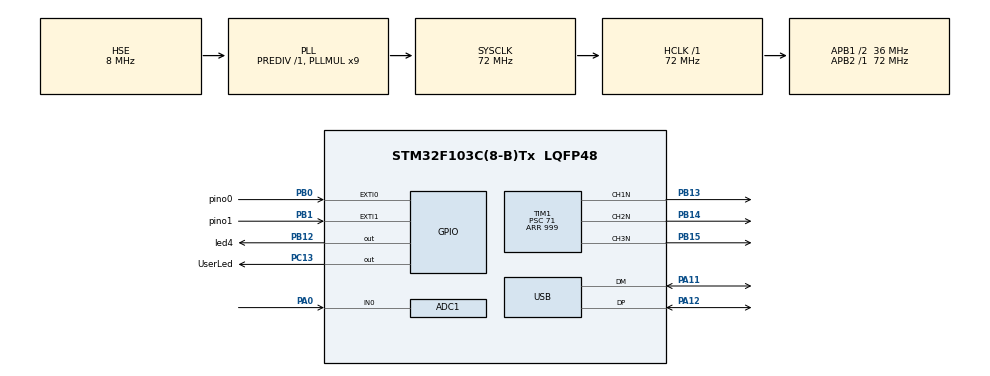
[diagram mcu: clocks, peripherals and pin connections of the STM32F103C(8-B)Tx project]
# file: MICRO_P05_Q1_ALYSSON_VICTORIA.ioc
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ADC1.Channel-0\#ChannelRegularConversion=ADC_CHANNEL_0
ADC1.ExternalTrigConv=ADC_EXTERNALTRIGCONV_T3_TRGO
ADC1.NbrOfConversionFlag=1
ADC1.Rank-0\#ChannelRegularConversion=1
ADC1.SamplingTime-0\#ChannelRegularConversion=ADC_SAMPLETIME_1CYCLE_5
ADC1.master=1
Dma.ADC1.0.Direction=DMA_PERIPH_TO_MEMORY
Dma.ADC1.0.Instance=DMA1_Channel1
Dma.ADC1.0.MemDataAlignment=DMA_MDATAALIGN_HALFWORD
Dma.ADC1.0.MemInc=DMA_MINC_ENABLE
Dma.ADC1.0.Mode=DMA_CIRCULAR
Dma.ADC1.0.PeriphDataAlignment=DMA_PDATAALIGN_HALFWORD
Dma.ADC1.0.PeriphInc=DMA_PINC_DISABLE
Dma.ADC1.0.Priority=DMA_PRIORITY_LOW
Dma.Request0=ADC1
Mcu.Family=STM32F1
Mcu.Name=STM32F103C(8-B)Tx
Mcu.Package=LQFP48
NVIC.ADC1_2_IRQn=true\:0\:0\:false\:false\:true\:true\:true\:true
NVIC.DMA1_Channel1_IRQn=true\:0\:0\:false\:false\:true\:false\:true\:true
NVIC.EXTI0_IRQn=true\:0\:0\:true\:false\:true\:true\:true\:true
NVIC.EXTI1_IRQn=true\:0\:0\:true\:false\:true\:true\:true\:true
NVIC.PriorityGroup=NVIC_PRIORITYGROUP_4
NVIC.USB_LP_CAN1_RX0_IRQn=true\:0\:0\:false\:false\:true\:false\:true\:true
PA0-WKUP.Signal=ADCx_IN0
PA11.Mode=Device
PA11.Signal=USB_DM
PA12.Mode=Device
PA12.Signal=USB_DP
PA13.Mode=Serial_Wire
PA13.Signal=SYS_JTMS-SWDIO
PA14.Mode=Serial_Wire
PA14.Signal=SYS_JTCK-SWCLK
PB0.GPIO_Label=pino0
PB0.GPIO_ModeDefaultEXTI=GPIO_MODE_IT_FALLING
PB0.GPIO_PuPd=GPIO_PULLUP
PB0.Signal=GPXTI0
PB1.GPIO_Label=pino1
PB1.GPIO_ModeDefaultEXTI=GPIO_MODE_IT_FALLING
PB1.GPIO_PuPd=GPIO_PULLUP
PB1.Signal=GPXTI1
PB12.GPIO_Label=led4
PB12.GPIO_Speed=GPIO_SPEED_FREQ_LOW
PB12.PinState=GPIO_PIN_SET
PB12.Signal=GPIO_Output
PB13.Mode=PWM Generation1 CH1N
PB13.Signal=TIM1_CH1N
PB14.Mode=PWM Generation2 CH2N
PB14.Signal=TIM1_CH2N
PB15.Mode=PWM Generation3 CH3N
PB15.Signal=TIM1_CH3N
PC13-TAMPER-RTC.GPIO_Label=UserLed
PC13-TAMPER-RTC.PinState=GPIO_PIN_SET
PC13-TAMPER-RTC.Signal=GPIO_Output
PD0-OSC_IN.Mode=HSE-External-Oscillator
PD0-OSC_IN.Signal=RCC_OSC_IN
PD1-OSC_OUT.Mode=HSE-External-Oscillator
PD1-OSC_OUT.Signal=RCC_OSC_OUT
ProjectManager.HeapSize=0x200
ProjectManager.StackSize=0x400
ProjectManager.TargetToolchain=STM32CubeIDE
RCC.ADCPresc=RCC_ADCPCLK2_DIV6
RCC.AHBFreq_Value=72000000
RCC.APB1CLKDivider=RCC_HCLK_DIV2
RCC.APB1Freq_Value=36000000
RCC.APB1TimFreq_Value=72000000
RCC.APB2Freq_Value=72000000
RCC.APB2TimFreq_Value=72000000
RCC.HCLKFreq_Value=72000000
RCC.PLLMUL=RCC_PLL_MUL9
RCC.PLLSourceVirtual=RCC_PLLSOURCE_HSE
RCC.SYSCLKFreq_VALUE=72000000
RCC.SYSCLKSource=RCC_SYSCLKSOURCE_PLLCLK
RCC.USBFreq_Value=48000000
RCC.USBPrescaler=RCC_USBCLKSOURCE_PLL_DIV1_5
SH.ADCx_IN0.0=ADC1_IN0,IN0
TIM1.Channel-PWM\ Generation1\ CH1N=TIM_CHANNEL_1
TIM1.Channel-PWM\ Generation2\ CH2N=TIM_CHANNEL_2
TIM1.Channel-PWM\ Generation3\ CH3N=TIM_CHANNEL_3
TIM1.Period=999
TIM1.Prescaler=71
TIM3.Period=1999
TIM3.Prescaler=7199
TIM3.TIM_MasterOutputTrigger=TIM_TRGO_UPDATE
USB_DEVICE.CLASS_NAME_FS=CDC
USB_DEVICE.VirtualMode=Cdc
USB_DEVICE.VirtualModeFS=Cdc_FS
VP_TIM3_VS_ClockSourceINT.Mode=Internal
VP_USB_DEVICE_VS_USB_DEVICE_CDC_FS.Mode=CDC_FS
board=custom

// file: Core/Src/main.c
/* USER CODE BEGIN Header */
/**
  ******************************************************************************
  * @file           : main.c
  * @brief          : Prática 5 - Configuração e utilização da comunicação USB
  * @author         : Alysson Lucas Pontes Cavalcante da Silva e Maria Victória Martins Neves
  * @date           : 20/05/2026
  * @details        : Aprendendo a realizar a configuração e a utilização da comunicação USB
  * entre o computador e placa BluePill.
  ******************************************************************************
  */
/* USER CODE END Header */
#include "main.h"
#include "usb_device.h"

/* USER CODE BEGIN Includes */
#include "usb_flags.h"
#include "usbd_cdc_if.h"
#include <string.h>
#include <stdio.h> //formatação de string (snprintf)

/* USER CODE END Includes */

/* USER CODE BEGIN PD */

#define ADC_MAX_VAL 4040 // Resolução de 12 bits do ADC do STM32 (ajustada)
#define ADC_BUF_LEN 1    // Tamanho do buffer do DMA

/* USER CODE END PD */

ADC_HandleTypeDef hadc1;
DMA_HandleTypeDef hdma_adc1;

TIM_HandleTypeDef htim1;
TIM_HandleTypeDef htim3;

/* USER CODE BEGIN PV */
/* NENHUMA VARIÁVEL GLOBAL! O código está 100% blindado. */
/* USER CODE END PV */

void SystemClock_Config(void);
static void MX_GPIO_Init(void);
static void MX_DMA_Init(void);
static void MX_ADC1_Init(void);
static void MX_TIM3_Init(void);
static void MX_TIM1_Init(void);
/* USER CODE BEGIN PFP */
void UserLed(uint32_t tempo_atual, uint32_t *time_UserLed);
uint32_t Duty_Conversion(uint32_t valor_adc);

// Função de Processamento dos dados recebidos do USB
void Process_USB_Commands(uint32_t *adc_val, uint8_t *Buf, uint32_t Len);

/* USER CODE END PFP */

int main(void)
{

  /* USER CODE BEGIN 1 */
	uint32_t tempo_atual = HAL_GetTick(); // Atualiza o tempo atual em milissegundos
	uint32_t time_UserLed = tempo_atual;  // Controlar o tempo do Userled.

	// A variável do ADC é estritamente local à main!
	uint32_t adc_buffer[ADC_BUF_LEN];
  /* USER CODE END 1 */

  /* MCU Configuration--------------------------------------------------------*/

  /* Reset of all peripherals, Initializes the Flash interface and the Systick. */
  HAL_Init();

  /* Configure the system clock */
  SystemClock_Config();

  /* Initialize all configured peripherals */
  MX_GPIO_Init();
  MX_DMA_Init();
  MX_ADC1_Init();
  MX_TIM3_Init();
  MX_TIM1_Init();
  MX_USB_DEVICE_Init();
  /* USER CODE BEGIN 2 */
  HAL_TIM_Base_Start(&htim3); // Inicializa o TIM3 que está definido para 200ms

  //Estamos utilizando o canal N, Inicialização do PWM temporizador 1 e canais 3,2 e 1.
  HAL_TIMEx_PWMN_Start(&htim1,TIM_CHANNEL_3);
  HAL_TIMEx_PWMN_Start(&htim1,TIM_CHANNEL_2);
  HAL_TIMEx_PWMN_Start(&htim1,TIM_CHANNEL_1);
  HAL_ADC_Start_DMA(&hadc1, (uint32_t*)adc_buffer, ADC_BUF_LEN); // Inicializao ADC1
  /* USER CODE END 2 */

  /* Infinite loop */
  /* USER CODE BEGIN WHILE */
  while (1)
  {
	 tempo_atual = HAL_GetTick();

	 // Função Userled: pisca o userled 1950 apagado e 50ms aceso
	 UserLed(tempo_atual, &time_UserLed);

	 // Atualiza D1 via ADC
	 __HAL_TIM_SET_COMPARE(&htim1, TIM_CHANNEL_1, Duty_Conversion(adc_buffer[0]));

	 // Chama a máquina de estados Mestre. Ela mesma verifica a flag e o timeout internamente!
	 Process_USB_Commands(&adc_buffer[0], NULL, 0);

    /* USER CODE END WHILE */

  }
}

void SystemClock_Config(void)
{
  RCC_OscInitTypeDef RCC_OscInitStruct = {0};
  RCC_ClkInitTypeDef RCC_ClkInitStruct = {0};
  RCC_PeriphCLKInitTypeDef PeriphClkInit = {0};

  /** Initializes the RCC Oscillators according to the specified parameters
  * in the RCC_OscInitTypeDef structure.
  */
  RCC_OscInitStruct.OscillatorType = RCC_OSCILLATORTYPE_HSE;
  RCC_OscInitStruct.HSEState = RCC_HSE_ON;
  RCC_OscInitStruct.HSEPredivValue = RCC_HSE_PREDIV_DIV1;
  RCC_OscInitStruct.HSIState = RCC_HSI_ON;
  RCC_OscInitStruct.PLL.PLLState = RCC_PLL_ON;
  RCC_OscInitStruct.PLL.PLLSource = RCC_PLLSOURCE_HSE;
  RCC_OscInitStruct.PLL.PLLMUL = RCC_PLL_MUL9;
  if (HAL_RCC_OscConfig(&RCC_OscInitStruct) != HAL_OK)
  {
    Error_Handler();
  }

  /** Initializes the CPU, AHB and APB buses clocks
  */
  RCC_ClkInitStruct.ClockType = RCC_CLOCKTYPE_HCLK|RCC_CLOCKTYPE_SYSCLK
                              |RCC_CLOCKTYPE_PCLK1|RCC_CLOCKTYPE_PCLK2;
  RCC_ClkInitStruct.SYSCLKSource = RCC_SYSCLKSOURCE_PLLCLK;
  RCC_ClkInitStruct.AHBCLKDivider = RCC_SYSCLK_DIV1;
  RCC_ClkInitStruct.APB1CLKDivider = RCC_HCLK_DIV2;
  RCC_ClkInitStruct.APB2CLKDivider = RCC_HCLK_DIV1;

  if (HAL_RCC_ClockConfig(&RCC_ClkInitStruct, FLASH_LATENCY_2) != HAL_OK)
  {
    Error_Handler();
  }
  PeriphClkInit.PeriphClockSelection = RCC_PERIPHCLK_ADC|RCC_PERIPHCLK_USB;
  PeriphClkInit.AdcClockSelection = RCC_ADCPCLK2_DIV6;
  PeriphClkInit.UsbClockSelection = RCC_USBCLKSOURCE_PLL_DIV1_5;
  if (HAL_RCCEx_PeriphCLKConfig(&PeriphClkInit) != HAL_OK)
  {
    Error_Handler();
  }
}

static void MX_ADC1_Init(void)
{

  ADC_ChannelConfTypeDef sConfig = {0};

  /** Common config
  */
  hadc1.Instance = ADC1;
  hadc1.Init.ScanConvMode = ADC_SCAN_DISABLE;
  hadc1.Init.ContinuousConvMode = DISABLE;
  hadc1.Init.DiscontinuousConvMode = DISABLE;
  hadc1.Init.ExternalTrigConv = ADC_EXTERNALTRIGCONV_T3_TRGO;
  hadc1.Init.DataAlign = ADC_DATAALIGN_RIGHT;
  hadc1.Init.NbrOfConversion = 1;
  if (HAL_ADC_Init(&hadc1) != HAL_OK)
  {
    Error_Handler();
  }

  /** Configure Regular Channel
  */
  sConfig.Channel = ADC_CHANNEL_0;
  sConfig.Rank = ADC_REGULAR_RANK_1;
  sConfig.SamplingTime = ADC_SAMPLETIME_1CYCLE_5;
  if (HAL_ADC_ConfigChannel(&hadc1, &sConfig) != HAL_OK)
  {
    Error_Handler();
  }

}

static void MX_TIM1_Init(void)
{

  TIM_MasterConfigTypeDef sMasterConfig = {0};
  TIM_OC_InitTypeDef sConfigOC = {0};
  TIM_BreakDeadTimeConfigTypeDef sBreakDeadTimeConfig = {0};

  htim1.Instance = TIM1;
  htim1.Init.Prescaler = 71;
  htim1.Init.CounterMode = TIM_COUNTERMODE_UP;
  htim1.Init.Period = 999;
  htim1.Init.ClockDivision = TIM_CLOCKDIVISION_DIV1;
  htim1.Init.RepetitionCounter = 0;
  htim1.Init.AutoReloadPreload = TIM_AUTORELOAD_PRELOAD_DISABLE;
  if (HAL_TIM_PWM_Init(&htim1) != HAL_OK)
  {
    Error_Handler();
  }
  sMasterConfig.MasterOutputTrigger = TIM_TRGO_RESET;
  sMasterConfig.MasterSlaveMode = TIM_MASTERSLAVEMODE_DISABLE;
  if (HAL_TIMEx_MasterConfigSynchronization(&htim1, &sMasterConfig) != HAL_OK)
  {
    Error_Handler();
  }
  sConfigOC.OCMode = TIM_OCMODE_PWM1;
  sConfigOC.Pulse = 0;
  sConfigOC.OCPolarity = TIM_OCPOLARITY_HIGH;
  sConfigOC.OCNPolarity = TIM_OCNPOLARITY_HIGH;
  sConfigOC.OCFastMode = TIM_OCFAST_DISABLE;
  sConfigOC.OCIdleState = TIM_OCIDLESTATE_RESET;
  sConfigOC.OCNIdleState = TIM_OCNIDLESTATE_RESET;
  if (HAL_TIM_PWM_ConfigChannel(&htim1, &sConfigOC, TIM_CHANNEL_1) != HAL_OK)
  {
    Error_Handler();
  }
  if (HAL_TIM_PWM_ConfigChannel(&htim1, &sConfigOC, TIM_CHANNEL_2) != HAL_OK)
  {
    Error_Handler();
  }
  if (HAL_TIM_PWM_ConfigChannel(&htim1, &sConfigOC, TIM_CHANNEL_3) != HAL_OK)
  {
    Error_Handler();
  }
  sBreakDeadTimeConfig.OffStateRunMode = TIM_OSSR_DISABLE;
  sBreakDeadTimeConfig.OffStateIDLEMode = TIM_OSSI_DISABLE;
  sBreakDeadTimeConfig.LockLevel = TIM_LOCKLEVEL_OFF;
  sBreakDeadTimeConfig.DeadTime = 0;
  sBreakDeadTimeConfig.BreakState = TIM_BREAK_DISABLE;
  sBreakDeadTimeConfig.BreakPolarity = TIM_BREAKPOLARITY_HIGH;
  sBreakDeadTimeConfig.AutomaticOutput = TIM_AUTOMATICOUTPUT_DISABLE;
  if (HAL_TIMEx_ConfigBreakDeadTime(&htim1, &sBreakDeadTimeConfig) != HAL_OK)
  {
    Error_Handler();
  }
  HAL_TIM_MspPostInit(&htim1);

}

static void MX_TIM3_Init(void)
{

  TIM_ClockConfigTypeDef sClockSourceConfig = {0};
  TIM_MasterConfigTypeDef sMasterConfig = {0};

  htim3.Instance = TIM3;
  htim3.Init.Prescaler = 7199;
  htim3.Init.CounterMode = TIM_COUNTERMODE_UP;
  htim3.Init.Period = 1999;
  htim3.Init.ClockDivision = TIM_CLOCKDIVISION_DIV1;
  htim3.Init.AutoReloadPreload = TIM_AUTORELOAD_PRELOAD_DISABLE;
  if (HAL_TIM_Base_Init(&htim3) != HAL_OK)
  {
    Error_Handler();
  }
  sClockSourceConfig.ClockSource = TIM_CLOCKSOURCE_INTERNAL;
  if (HAL_TIM_ConfigClockSource(&htim3, &sClockSourceConfig) != HAL_OK)
  {
    Error_Handler();
  }
  sMasterConfig.MasterOutputTrigger = TIM_TRGO_UPDATE;
  sMasterConfig.MasterSlaveMode = TIM_MASTERSLAVEMODE_DISABLE;
  if (HAL_TIMEx_MasterConfigSynchronization(&htim3, &sMasterConfig) != HAL_OK)
  {
    Error_Handler();
  }

}

static void MX_DMA_Init(void)
{

  /* DMA controller clock enable */
  __HAL_RCC_DMA1_CLK_ENABLE();

  /* DMA interrupt init */
  /* DMA1_Channel1_IRQn interrupt configuration */
  HAL_NVIC_SetPriority(DMA1_Channel1_IRQn, 0, 0);
  HAL_NVIC_EnableIRQ(DMA1_Channel1_IRQn);

}

static void MX_GPIO_Init(void)
{
  GPIO_InitTypeDef GPIO_InitStruct = {0};

  /* GPIO Ports Clock Enable */
  __HAL_RCC_GPIOC_CLK_ENABLE();
  __HAL_RCC_GPIOD_CLK_ENABLE();
  __HAL_RCC_GPIOA_CLK_ENABLE();
  __HAL_RCC_GPIOB_CLK_ENABLE();

  /*Configure GPIO pin Output Level */
  HAL_GPIO_WritePin(UserLed_GPIO_Port, UserLed_Pin, GPIO_PIN_SET);

  /*Configure GPIO pin Output Level */
  HAL_GPIO_WritePin(led4_GPIO_Port, led4_Pin, GPIO_PIN_SET);

  /*Configure GPIO pin : UserLed_Pin */
  GPIO_InitStruct.Pin = UserLed_Pin;
  GPIO_InitStruct.Mode = GPIO_MODE_OUTPUT_PP;
  GPIO_InitStruct.Pull = GPIO_NOPULL;
  GPIO_InitStruct.Speed = GPIO_SPEED_FREQ_LOW;
  HAL_GPIO_Init(UserLed_GPIO_Port, &GPIO_InitStruct);

  /*Configure GPIO pins : pino0_Pin pino1_Pin */
  GPIO_InitStruct.Pin = pino0_Pin|pino1_Pin;
  GPIO_InitStruct.Mode = GPIO_MODE_IT_FALLING;
  GPIO_InitStruct.Pull = GPIO_PULLUP;
  HAL_GPIO_Init(GPIOB, &GPIO_InitStruct);

  /*Configure GPIO pin : led4_Pin */
  GPIO_InitStruct.Pin = led4_Pin;
  GPIO_InitStruct.Mode = GPIO_MODE_OUTPUT_PP;
  GPIO_InitStruct.Pull = GPIO_NOPULL;
  GPIO_InitStruct.Speed = GPIO_SPEED_FREQ_LOW;
  HAL_GPIO_Init(led4_GPIO_Port, &GPIO_InitStruct);

  /* EXTI interrupt init*/
  HAL_NVIC_SetPriority(EXTI0_IRQn, 0, 0);
  HAL_NVIC_EnableIRQ(EXTI0_IRQn);

  HAL_NVIC_SetPriority(EXTI1_IRQn, 0, 0);
  HAL_NVIC_EnableIRQ(EXTI1_IRQn);

}

/* USER CODE BEGIN 4 */

/**
  * @brief Interrupção Nativa da USB mantida!
  * Esta função repassa os dados imediatamente para o Process_USB_Commands
  * salvar nos buffers escondidos, mantendo a interrupção ultra-rápida.
  */
void USB_CDC_RxHandler(uint8_t* Buf, uint32_t Len)
{
    // Passando NULL no ponteiro de ADC indica para a função que estamos no MODO INTERRUPÇÃO
    Process_USB_Commands(NULL, Buf, Len);
}

/**
  * @brief Função de tratamento de comandos MESTRE.
  * Encapsula o buffer e lógica de flags internamente,
  */
void Process_USB_Commands(uint32_t *adc_val, uint8_t *Buf, uint32_t Len)
{

    static uint8_t cmd_buf[32];
    static uint16_t cmd_idx = 0;
    static uint8_t inicio = 0;
    static uint32_t inicio_timeout = 0;

    static uint8_t rx_buffer_interno[128];
    static uint32_t rx_len_interno = 0;

    //
    // EXECUÇÃO NA INTERRUPÇÃO (Salva os dados rápidos)
    // Se o Buf não for nulo e tiver dados, quem chamou foi a USB_CDC_RxHandler!
    if (Buf != NULL && Len > 0) {
        if (Len < sizeof(rx_buffer_interno)) {
            memcpy(rx_buffer_interno, Buf, Len);
            rx_len_interno = Len;

            // Levanta a SUA flag do usb_flags.c
            Set_Flag_USB();
        }
        return; // Sai instantaneamente da interrupção
    }

    // Avalia timeout e processa
    // 1. Verificação Contínua de Timeout (Janela de 500 ms)
    if (inicio && (HAL_GetTick() - inicio_timeout >= 500)) {
        char timeout_msg[] = "ITNACKF";
        CDC_Transmit_FS((uint8_t*)timeout_msg, strlen(timeout_msg));

        inicio = 0;
        cmd_idx = 0;
    }

    // 2. Processamento (Só decodifica se a interrupção tiver levantado a flag!)
    if (adc_val != NULL && condition_check_USB() == START) {

        for (uint32_t i = 0; i < rx_len_interno; i++) {
            uint8_t c = rx_buffer_interno[i];

            if (!inicio) {
                if (c == 'I') {
                    inicio = 1;
                    inicio_timeout = HAL_GetTick(); // Inicia a contagem de 500ms
                    cmd_idx = 0;
                    cmd_buf[cmd_idx++] = c;
                }
            } else {
                if (cmd_idx < 32) {
                    cmd_buf[cmd_idx++] = c;
                } else {
                    char nack_msg[] = "INACKF"; //Houve erro no comando escrito
                    CDC_Transmit_FS((uint8_t*)nack_msg, strlen(nack_msg));
                    inicio = 0;
                    cmd_idx = 0;
                    continue;
                }

                if (c == 'F') {
                    inicio = 0; // Finaliza pacote

                    // --- Caso A: Valor do ADC
                    if (cmd_idx == 3 && cmd_buf[1] == 'A') {
                     char resp[16];
                     // O ponteiro *adc_val traz o valor da variável local adc_buffer da main()
                     snprintf(resp, sizeof(resp), "IA%04luF", (unsigned long)(*adc_val));
                     CDC_Transmit_FS((uint8_t*)resp, strlen(resp));
                    }

                    // --- Caso B: PWM LED D2
                    else if (cmd_idx == 7 && cmd_buf[1] == 'P' && cmd_buf[2] == '2')  //Verifica se o comando para led 2
                    {
                        if (cmd_buf[3] >= '0' && cmd_buf[3] <= '9' && cmd_buf[4] >= '0' && cmd_buf[4] <= '9' && cmd_buf[5] >= '0' && cmd_buf[5] <= '9')
                        { //Condições para só haver inteiros positivos
                            uint32_t pwm_val = (cmd_buf[3] - '0') * 100 + (cmd_buf[4] - '0') * 10 + (cmd_buf[5] - '0');
                            __HAL_TIM_SET_COMPARE(&htim1, TIM_CHANNEL_2, pwm_val);
                            char resp[] = "IP2ACKF";//Se der certo
                            CDC_Transmit_FS((uint8_t*)resp, strlen(resp));
                        } else {
                            char resp[] = "IP2NACKF";//Se houver algum erro
                            CDC_Transmit_FS((uint8_t*)resp, strlen(resp));
                        }
                    }

                    // --- Caso C: PWM LED D3
                    else if (cmd_idx == 7 && cmd_buf[1] == 'P' && cmd_buf[2] == '3') //Verifica se o comando para led 3
                    {//Condições para só haver inteiros positivos
                        if (cmd_buf[3] >= '0' && cmd_buf[3] <= '9' && cmd_buf[4] >= '0' && cmd_buf[4] <= '9' && cmd_buf[5] >= '0' && cmd_buf[5] <= '9') {
                            uint32_t pwm_val = (cmd_buf[3] - '0') * 100 + (cmd_buf[4] - '0') * 10 + (cmd_buf[5] - '0');
                            __HAL_TIM_SET_COMPARE(&htim1, TIM_CHANNEL_3, pwm_val);
                            char resp[] = "IP3ACKF"; //Se der certo
                            CDC_Transmit_FS((uint8_t*)resp, strlen(resp));
                        } else {
                            char resp[] = "IP3NACKF"; //Se houver algum erro
                            CDC_Transmit_FS((uint8_t*)resp, strlen(resp));
                        }
                    }
                    // --- Caso D: Comando não reconhecido
                    else {
                        char resp[] = "INACKF"; //Houve erro no comando escrito
                        CDC_Transmit_FS((uint8_t*)resp, strlen(resp));
                    }
                    cmd_idx = 0;
                }
            }
        }

        // Terminou de processar o buffer, abaixa a flag.
        Reset_Flag_USB();
    }
}

/**
  * @brief  Máquina de estados não-bloqueante responsável por indicar o funcionamento do sistema (Heartbeat).
  */
void UserLed(uint32_t tempo_atual, uint32_t *time_UserLed)
{
    if (HAL_GPIO_ReadPin(UserLed_GPIO_Port, UserLed_Pin) == GPIO_PIN_SET)
    {
        if ((tempo_atual - *time_UserLed) >= 1950) {
            HAL_GPIO_WritePin(UserLed_GPIO_Port, UserLed_Pin, GPIO_PIN_RESET);
            *time_UserLed = tempo_atual;
        }
    } else {
        if ((tempo_atual - *time_UserLed) >= 50) {
            HAL_GPIO_WritePin(UserLed_GPIO_Port, UserLed_Pin, GPIO_PIN_SET);
            *time_UserLed = tempo_atual;
        }
    }
}

/**
  * @brief  Realiza a conversão linear do valor lido pelo ADC.
  */
uint32_t Duty_Conversion(uint32_t valor_adc)
{
    return (((valor_adc * 999)/ADC_MAX_VAL));
}

/* USER CODE END 4 */

void Error_Handler(void)
{
  __disable_irq();
  while (1)
  {
  }
}
